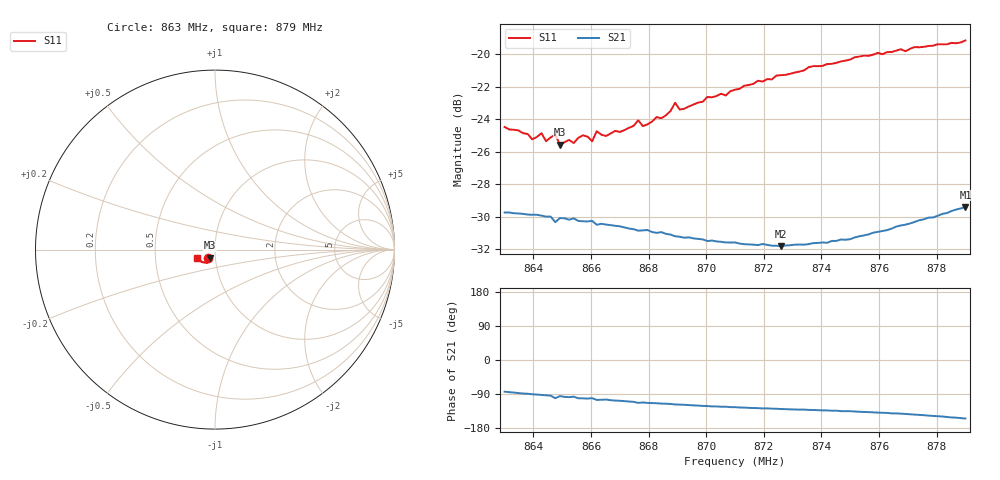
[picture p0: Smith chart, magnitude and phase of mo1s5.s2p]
# HZ S RI R 50
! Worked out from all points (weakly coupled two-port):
!   101 points, 863 MHz to 879 MHz, reference 50 ohm
!   highest |S21| = -29.40 dB at 879 MHz (marker M1); lowest = -31.8 dB at 872.6 MHz (marker M2)
!   lowest |S11| = -25.6 dB at 864.92 MHz (marker M3), VSWR 1.11, Z = 47.1 - j4.21 ohm
!   |S11| at or under -10 dB: start of sweep to end of sweep
!   S12 and S22 are empty: the file has one direction only
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8.63e8  -0.0399 -0.0444  0.00362 -0.0324  0 0  0 0
8.6396e8  -0.0337 -0.0431  -0.000193 -0.0321  0 0  0 0
8.6428e8  -0.0336 -0.0463  -0.00124 -0.0319  0 0  0 0
8.6444e8  -0.0324 -0.0432  -0.0017 -0.0316  0 0  0 0
8.6476e8  -0.0339 -0.0453  -0.00572 -0.0299  0 0  0 0
8.6492e8  -0.0281 -0.0446  -0.00289 -0.0312  0 0  0 0
8.654e8  -0.026 -0.0465  -0.00365 -0.0311  0 0  0 0
8.6572e8  -0.0287 -0.0484  -0.00595 -0.03  0 0  0 0
8.6604e8  -0.0237 -0.0485  -0.00566 -0.0302  0 0  0 0
8.662e8  -0.029 -0.0502  -0.00792 -0.0288  0 0  0 0
8.6652e8  -0.0252 -0.0501  -0.00742 -0.029  0 0  0 0
8.6764e8  -0.0274 -0.0563  -0.0113 -0.0263  0 0  0 0
8.678e8  -0.025 -0.0547  -0.0108 -0.0266  0 0  0 0
8.6844e8  -0.0264 -0.0578  -0.012 -0.0257  0 0  0 0
8.6892e8  -0.0326 -0.063  -0.0126 -0.0245  0 0  0 0
8.6908e8  -0.0284 -0.0614  -0.0128 -0.0243  0 0  0 0
8.6924e8  -0.0279 -0.062  -0.0129 -0.024  0 0  0 0
8.71e8  -0.0358 -0.0691  -0.0149 -0.0217  0 0  0 0
8.726e8  -0.0468 -0.0724  -0.0163 -0.0198  0 0  0 0
8.7372e8  -0.0557 -0.0731  -0.0175 -0.0195  0 0  0 0
8.7644e8  -0.0781 -0.065  -0.0225 -0.0183  0 0  0 0
8.79e8  -0.0991 -0.0483  -0.0306 -0.0146  0 0  0 0
